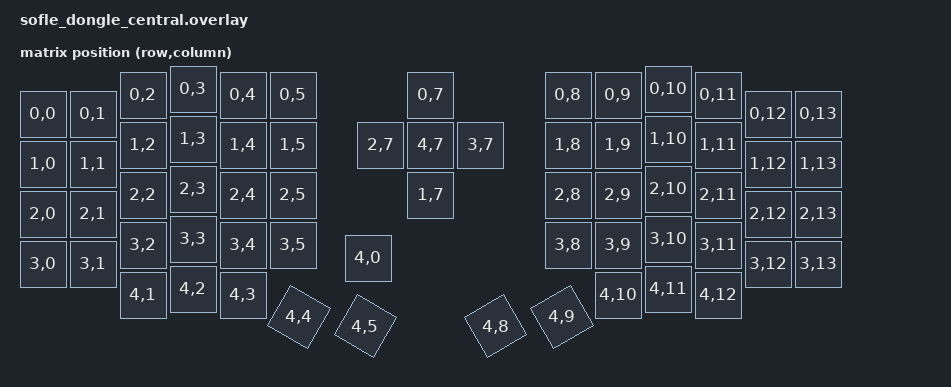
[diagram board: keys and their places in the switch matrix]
/*
 * Copyright (c) 2020 The ZMK Contributors
 * SPDX-License-Identifier: MIT
 */

#include <physical_layouts.dtsi>
#include <dt-bindings/zmk/matrix_transform.h>
#include <dt-bindings/led/led.h>

/ {
    chosen {
        zmk,kscan = &mock_kscan;
        zmk,physical-layout = &eyelash_sofle_layout;
        zephyr,display = &oled;
        zmk,underglow = &led_strip;
    };

    mock_kscan: mock_kscan {
        compatible = "zmk,kscan-mock";
        rows = <0>;
        columns = <0>;
        events = <>;
    };

    default_transform: keymap_transform_0 {
        compatible = "zmk,matrix-transform";
        columns = <14>;
        rows = <5>;
        map = <
            RC(0,0) RC(0,1) RC(0,2) RC(0,3) RC(0,4) RC(0,5)  RC(0,7) RC(0,8) RC(0,9) RC(0,10) RC(0,11) RC(0,12) RC(0,13)
            RC(1,0) RC(1,1) RC(1,2) RC(1,3) RC(1,4) RC(1,5)  RC(1,7) RC(1,8) RC(1,9) RC(1,10) RC(1,11) RC(1,12) RC(1,13)
            RC(2,0) RC(2,1) RC(2,2) RC(2,3) RC(2,4) RC(2,5)  RC(2,7) RC(2,8) RC(2,9) RC(2,10) RC(2,11) RC(2,12) RC(2,13)
            RC(3,0) RC(3,1) RC(3,2) RC(3,3) RC(3,4) RC(3,5)  RC(3,7) RC(3,8) RC(3,9) RC(3,10) RC(3,11) RC(3,12) RC(3,13)
            RC(4,0) RC(4,1) RC(4,2) RC(4,3) RC(4,4) RC(4,5)  RC(4,7) RC(4,8) RC(4,9) RC(4,10) RC(4,11) RC(4,12)
        >;
    };

    eyelash_sofle_layout: eyelash_sofle_layout {
        compatible = "zmk,physical-layout";
        display-name = "Layout";
        transform = <&default_transform>;
        keys  //                     w   h    x    y     rot    rx    ry
            = <&key_physical_attrs 100 100    0   50       0     0     0>
            , <&key_physical_attrs 100 100  100   50       0     0     0>
            , <&key_physical_attrs 100 100  200   12       0     0     0>
            , <&key_physical_attrs 100 100  300    0       0     0     0>
            , <&key_physical_attrs 100 100  400   12       0     0     0>
            , <&key_physical_attrs 100 100  500   12       0     0     0>
            , <&key_physical_attrs 100 100  775   12       0     0     0>
            , <&key_physical_attrs 100 100 1050   12       0     0     0>
            , <&key_physical_attrs 100 100 1150   12       0     0     0>
            , <&key_physical_attrs 100 100 1250    0       0     0     0>
            , <&key_physical_attrs 100 100 1350   12       0     0     0>
            , <&key_physical_attrs 100 100 1450   50       0     0     0>
            , <&key_physical_attrs 100 100 1550   50       0     0     0>
            , <&key_physical_attrs 100 100    0  150       0     0     0>
            , <&key_physical_attrs 100 100  100  150       0     0     0>
            , <&key_physical_attrs 100 100  200  112       0     0     0>
            , <&key_physical_attrs 100 100  300  100       0     0     0>
            , <&key_physical_attrs 100 100  400  112       0     0     0>
            , <&key_physical_attrs 100 100  500  112       0     0     0>
            , <&key_physical_attrs 100 100  775  212       0     0     0>
            , <&key_physical_attrs 100 100 1050  112       0     0     0>
            , <&key_physical_attrs 100 100 1150  112       0     0     0>
            , <&key_physical_attrs 100 100 1250  100       0     0     0>
            , <&key_physical_attrs 100 100 1350  112       0     0     0>
            , <&key_physical_attrs 100 100 1450  150       0     0     0>
            , <&key_physical_attrs 100 100 1550  150       0     0     0>
            , <&key_physical_attrs 100 100    0  250       0     0     0>
            , <&key_physical_attrs 100 100  100  250       0     0     0>
            , <&key_physical_attrs 100 100  200  212       0     0     0>
            , <&key_physical_attrs 100 100  300  200       0     0     0>
            , <&key_physical_attrs 100 100  400  212       0     0     0>
            , <&key_physical_attrs 100 100  500  212       0     0     0>
            , <&key_physical_attrs 100 100  675  112       0     0     0>
            , <&key_physical_attrs 100 100 1050  212       0     0     0>
            , <&key_physical_attrs 100 100 1150  212       0     0     0>
            , <&key_physical_attrs 100 100 1250  200       0     0     0>
            , <&key_physical_attrs 100 100 1350  212       0     0     0>
            , <&key_physical_attrs 100 100 1450  250       0     0     0>
            , <&key_physical_attrs 100 100 1550  250       0     0     0>
            , <&key_physical_attrs 100 100    0  350       0     0     0>
            , <&key_physical_attrs 100 100  100  350       0     0     0>
            , <&key_physical_attrs 100 100  200  312       0     0     0>
            , <&key_physical_attrs 100 100  300  300       0     0     0>
            , <&key_physical_attrs 100 100  400  312       0     0     0>
            , <&key_physical_attrs 100 100  500  312       0     0     0>
            , <&key_physical_attrs 100 100  875  112       0     0     0>
            , <&key_physical_attrs 100 100 1050  312       0     0     0>
            , <&key_physical_attrs 100 100 1150  312       0     0     0>
            , <&key_physical_attrs 100 100 1250  300       0     0     0>
            , <&key_physical_attrs 100 100 1350  312       0     0     0>
            , <&key_physical_attrs 100 100 1450  350       0     0     0>
            , <&key_physical_attrs 100 100 1550  350       0     0     0>
            , <&key_physical_attrs 100 100  650  338       0     0     0>
            , <&key_physical_attrs 100 100  200  412       0     0     0>
            , <&key_physical_attrs 100 100  300  400       0     0     0>
            , <&key_physical_attrs 100 100  400  412       0     0     0>
            , <&key_physical_attrs 100 100  550  412    3000   500   412>
            , <&key_physical_attrs 100 100  675  362    3000   500   412>
            , <&key_physical_attrs 100 100  775  112       0     0     0>
            , <&key_physical_attrs 100 100  875  362 (-3000)  1150   412>
            , <&key_physical_attrs 100 100 1000  412 (-3000)  1150   412>
            , <&key_physical_attrs 100 100 1150  412       0     0     0>
            , <&key_physical_attrs 100 100 1250  400       0     0     0>
            , <&key_physical_attrs 100 100 1350  412       0     0     0>
            ;
    };
};

&pinctrl {
    i2c0_default: i2c0_default {
        group1 {
            psels = <NRF_PSEL(TWIM_SDA, 0, 17)>,
                <NRF_PSEL(TWIM_SCL, 0, 20)>;
        };
    };

    i2c0_sleep: i2c0_sleep {
        group1 {
            psels = <NRF_PSEL(TWIM_SDA, 0, 17)>,
                <NRF_PSEL(TWIM_SCL, 0, 20)>;
            low-power-enable;
        };
    };

    spi3_default: spi3_default {
        group1 {
            psels = <NRF_PSEL(SPIM_MOSI, 1, 4)>;
        };
    };

    spi3_sleep: spi3_sleep {
        group1 {
            psels = <NRF_PSEL(SPIM_MOSI, 1, 4)>;
            low-power-enable;
        };
    };
};

&i2c0 {
    status = "okay";
    compatible = "nordic,nrf-twi";
    pinctrl-0 = <&i2c0_default>;
    pinctrl-1 = <&i2c0_sleep>;
    oled: sh1106@3c {
        compatible = "sinowealth,sh1106";
        reg = <0x3c>;
        width = <128>;
        height = <64>;
        segment-offset = <2>;
        page-offset = <0>;
        display-offset = <0>;
        multiplex-ratio = <63>;
        segment-remap;
        com-invdir;
        inversion-on;
        prechargep = <0x22>;
    };
};

&spi3 {
    compatible = "nordic,nrf-spim";
    status = "okay";
    pinctrl-0 = <&spi3_default>;
    pinctrl-1 = <&spi3_sleep>;
    pinctrl-names = "default", "sleep";

    led_strip: ws2812@0 {
        compatible = "worldsemi,ws2812-spi";
        reg = <0>;
        spi-max-frequency = <4000000>;
        chain-length = <1>;
        spi-one-frame = <0x70>;
        spi-zero-frame = <0x40>;
        color-mapping = <
            LED_COLOR_ID_GREEN
            LED_COLOR_ID_RED
            LED_COLOR_ID_BLUE
        >;
    };
};
